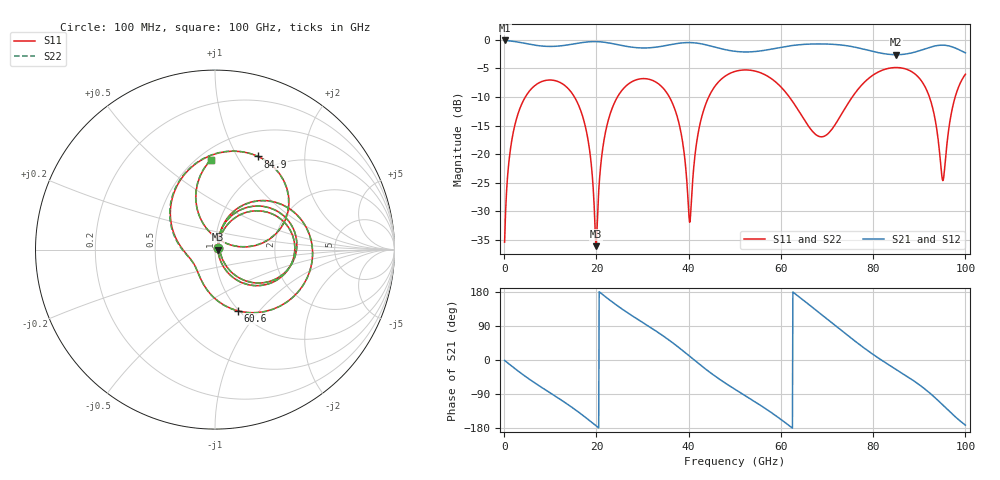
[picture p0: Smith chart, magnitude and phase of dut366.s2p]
! Touchstone file exported from HFSS 2026.1.0
!  File:  C:/ffzhzh/LocalFiles/Ansys_Project_Files/temp_train_TSV_RDL_366_1783712069_45496.aedt
!  Generated:  03:42:21 AM Jul 11, 2026
!  Design:  TSV_RDL
!  Project:  temp_train_TSV_RDL_366_1783712069_45496
! Variables:
!  h_bsmrdl = 2.46um
!  h_ox = 20um
!  h_rdl = 5um
!  h_sub = 73.56um
!  h_tmrdl = 3.35um
!  h_tsv = 73.56um
!  h_via = 3um
!  l_bsmrdl = 556.15um
!  l_sub = 2833.67um
!  l_tmrdl = 159.16um
!  m_sub = 200um
!  pitch = 48.67um
!  r_tsv = 12.84um
!  s_tmrdl = 10um
!  w_bsmrdl = 24.86um
!  w_sub = 500um
!  w_tmrdl = 18um
!  x_tsv_center1 = 168.16um
!  x_tsv_center2 = 749.17um
!  x_tsv_center3 = 926.33um
!  x_tsv_center4 = 1507.34um
!  x_tsv_center5 = 1684.5um
!  x_tsv_center6 = 2265.51um
# GHz S MA R 50.000000
! Terminal data exported
! Port[1] = TM_RDL1_1_T1
! Port[2] = TM_RDL5_1_T1
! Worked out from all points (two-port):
!   1000 points, 100 MHz to 100 GHz, reference 50 ohm
!   highest |S21| = -0.13 dB at 100 MHz (marker M1); lowest = -2.6 dB at 85 GHz (marker M2)
!   |S21| within 3 dB of the highest: start of sweep to end of sweep
!   lowest |S11| = -36.1 dB at 19.9 GHz (marker M3), VSWR 1.03, Z = 51.6 - j0.0505 ohm
!   |S11| at or under -10 dB: 15.24 GHz to 24.57 GHz (9.331 GHz wide, 46.9 % of centre); 35.82 GHz to 44.35 GHz (8.538 GHz wide, 21.3 % of centre); 61.82 GHz to 75.49 GHz (13.66 GHz wide, 19.9 % of centre) (the widest 3 of 5)
!   |S22| runs from -35.7 to -4.9 dB; largest |S21 - S12| = 1.1e-13
!   S11 on the Smith chart (normalised r, x): 100 MHz: 1.03, +0.02; 60.6 GHz: 0.99, -0.78; 84.9 GHz: 0.79, +1.22; 100 GHz: 0.58, +0.77
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0.1  0.01704 30.9  0.9855 -1.0  0.9855 -1.0  0.01704 30.9
! Gamma 0 0 0 0
! Port Impedance 50 0 50 0
1.8  0.1427 64.5  0.9704 -17.6  0.9704 -17.6  0.1427 64.5
5.1  0.3398 39.0  0.9195 -47.6  0.9195 -47.6  0.3398 39.0
11.3  0.4364 -8.5  0.8773 -97.1  0.8773 -97.1  0.4364 -8.5
16.8  0.2279 -52.1  0.9433 -143.6  0.9433 -143.6  0.2279 -51.9
19.9  0.01571 -1.8  0.9629 -173.3  0.9629 -173.3  0.01646 -1.4
23.9  0.2803 54.9  0.918 149.0  0.918 149.0  0.2804 54.7
33.4  0.4135 -17.2  0.8666 72.5  0.8666 72.5  0.4136 -17.3
37.8  0.1934 -50.9  0.9302 33.6  0.9302 33.6  0.1935 -50.8
40.2  0.0254 2.0  0.9444 10.0  0.9444 10.0  0.0264 2.1
43.5  0.2598 61.6  0.9074 -22.3  0.9074 -22.3  0.2599 61.2
50.1  0.5291 10.9  0.7918 -77.7  0.7918 -77.7  0.5292 10.6
60.6  0.3642 -69.4  0.8667 -162.2  0.8667 -162.2  0.3643 -69.7
66.7  0.1609 -125.6  0.9173 140.2  0.9173 140.2  0.1614 -125.2
73.3  0.2291 163.2  0.8971 76.4  0.8971 76.4  0.2293 164.3
78.1  0.4251 118.2  0.8242 31.1  0.8242 31.1  0.425 119.0
83.4  0.563 76.1  0.7458 -12.8  0.7458 -12.8  0.5629 76.6
84.9  0.5717 65.3  0.7399 -24.3  0.7399 -24.3  0.5716 65.7
85  0.5717 64.6  0.7399 -25.1  0.7399 -25.1  0.5716 65.0
91.6  0.3632 15.8  0.8408 -80.3  0.8408 -80.3  0.3631 16.2
95.1  0.05875 58.0  0.8967 -118.7  0.8967 -118.7  0.0593 58.5
100  0.4998 92.6  0.7679 -171.9  0.7679 -171.9  0.5 92.8
